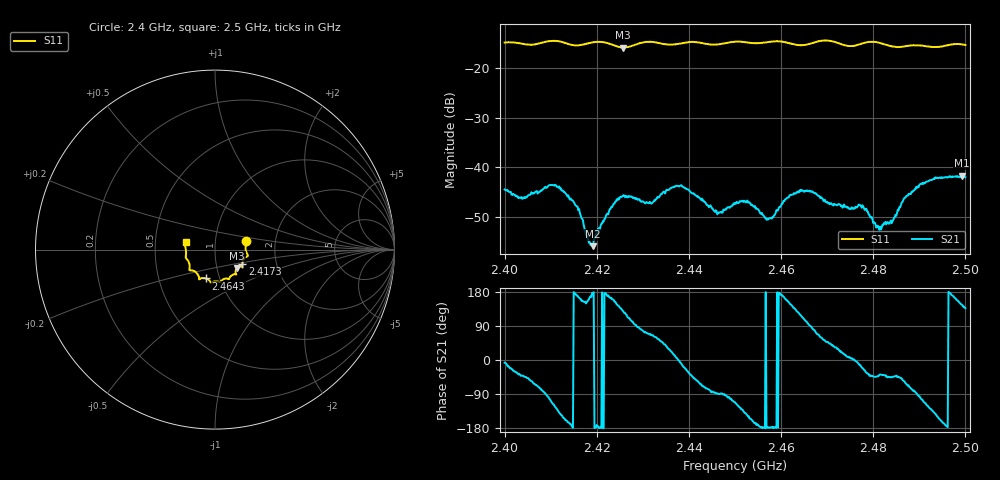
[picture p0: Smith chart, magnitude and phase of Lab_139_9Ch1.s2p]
# Hz S RI R 50
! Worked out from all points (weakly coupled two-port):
!   601 points, 2.4 GHz to 2.5 GHz, reference 50 ohm
!   highest |S21| = -41.64 dB at 2.4992 GHz (marker M1); lowest = -55.8 dB at 2.4192 GHz (marker M2)
!   lowest |S11| = -15.9 dB at 2.4257 GHz (marker M3), VSWR 1.38, Z = 62.5 - j13.1 ohm
!   |S11| at or under -10 dB: start of sweep to end of sweep
!   S12 and S22 are empty: the file has one direction only
!   S11 on the Smith chart (normalised r, x): 2.4 GHz: 1.41, +0.14; 2.4173 GHz: 1.34, -0.22; 2.4643 GHz: 0.86, -0.29; 2.5 GHz: 0.72, +0.06
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2.4e9  0.1726 0.0486  0.00595 -0.000742  0 0  0 0
2.404333e9  0.1714 0.0216  0.00363 -0.0035  0 0  0 0
2.411333e9  0.1824 -0.0359  -0.00405 -0.00495  0 0  0 0
2.416667e9  0.1527 -0.0738  -0.00286 0.00126  0 0  0 0
2.417333e9  0.1521 -0.0813  -0.00219 0.00112  0 0  0 0
2.419167e9  0.1532 -0.0953  -0.00161 9.89e-05  0 0  0 0
2.425667e9  0.123 -0.102  -0.0033 0.00402  0 0  0 0
2.433333e9  0.1131 -0.1372  0.00286 0.00409  0 0  0 0
2.438e9  0.0825 -0.1541  0.00647 -0.000517  0 0  0 0
2.446e9  0.048 -0.1643  0.000158 -0.00361  0 0  0 0
2.45e9  0.0289 -0.1809  -0.00157 -0.00402  0 0  0 0
2.452833e9  0.018 -0.1783  -0.0038 -0.00227  0 0  0 0
2.457333e9  -0.0155 -0.1813  -0.00305 -0.000126  0 0  0 0
2.464333e9  -0.0499 -0.161  -0.00266 0.00515  0 0  0 0
2.466667e9  -0.0758 -0.1594  0.000455 0.00566  0 0  0 0
2.470833e9  -0.0879 -0.1637  0.00327 0.0029  0 0  0 0
2.477333e9  -0.1294 -0.1157  0.00395 -0.00118  0 0  0 0
2.481167e9  -0.1428 -0.1081  0.00184 -0.00168  0 0  0 0
2.483333e9  -0.1409 -0.0901  0.00195 -0.00191  0 0  0 0
2.4905e9  -0.1626 -0.0375  -0.00165 -0.00662  0 0  0 0
2.499167e9  -0.1681 0.0382  -0.00688 0.0046  0 0  0 0
2.5e9  -0.1642 0.0431  -0.0058 0.00547  0 0  0 0
